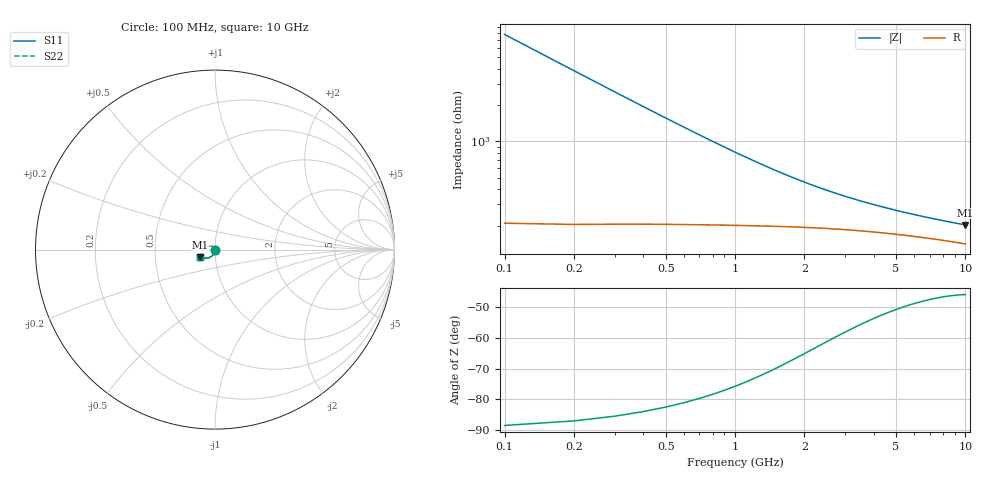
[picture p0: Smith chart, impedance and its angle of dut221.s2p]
! Touchstone file exported from HFSS 2024.1.0
!  File:  C:/UserFiles/LocalFiles/RDL_TSV_Batchsim/temp_TSV1_221_1778758387.aedt
!  Generated:  07:37:37 PM May 14, 2026
!  Design:  TSV1
!  Project:  temp_TSV1_221_1778758387
!  Setup:  Setup1
!  Solution:  Sweep
! Variables:
!  dtsv = 17.63um
!  hbump = 3um
!  htsv = 96.55um
!  lrdl = 252.1521522um
!  p = 40
!  p1 = 51.02um
!  t = 500um
!  trdl = 3um
!  wrdl = 24.89489489um
# GHz S MA R 50.000000
! Terminal data exported
! Port[1] = TSV22_T1
! Port[2] = TSV22_T2
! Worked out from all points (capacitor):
!   100 points, 100 MHz to 10 GHz, reference 50 ohm
!   read as one part in shunt: C = 206 fF near 100 MHz
!   lowest |Z| = 202 ohm at 10 GHz (marker M1)
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0.1  0.00285 -90.2  0.9998 -0.2  0.9998 -0.2  0.00285 -90.2
! Gamma 0 0 0 0
! Port Impedance 50 0 50 0
0.2  0.005715 -92.7  0.9995 -0.4  0.9995 -0.4  0.005715 -92.7
0.3  0.008561 -94.8  0.9991 -0.6  0.9991 -0.6  0.008561 -94.8
0.4  0.01137 -96.8  0.9984 -0.8  0.9984 -0.8  0.01137 -96.8
0.5  0.01414 -98.6  0.9976 -1.0  0.9976 -1.0  0.01414 -98.6
0.6  0.01686 -100.5  0.9967 -1.2  0.9967 -1.2  0.01686 -100.5
0.7  0.01952 -102.3  0.9956 -1.4  0.9956 -1.4  0.01952 -102.3
0.8  0.02212 -104.0  0.9945 -1.6  0.9945 -1.6  0.02212 -104.0
0.9  0.02464 -105.7  0.9932 -1.7  0.9932 -1.7  0.02464 -105.7
1.1  0.02946 -108.9  0.9904 -2.0  0.9904 -2.0  0.02946 -108.9
1.4  0.03608 -113.3  0.9859 -2.5  0.9859 -2.5  0.03608 -113.3
1.6  0.04008 -116.0  0.9827 -2.7  0.9827 -2.7  0.04008 -116.0
1.8  0.04377 -118.5  0.9795 -3.0  0.9795 -3.0  0.04377 -118.5
2.1  0.04876 -122.0  0.9748 -3.2  0.9748 -3.2  0.04876 -122.0
2.5  0.0545 -125.9  0.9688 -3.6  0.9688 -3.6  0.0545 -125.9
2.9  0.05938 -129.3  0.9633 -3.9  0.9633 -3.9  0.05938 -129.3
3.4  0.06453 -132.9  0.9572 -4.2  0.9572 -4.2  0.06453 -132.9
4.2  0.07114 -137.4  0.949 -4.6  0.949 -4.6  0.07114 -137.4
5.1  0.07693 -141.3  0.9415 -4.9  0.9415 -4.9  0.07693 -141.3
6.7  0.08449 -146.4  0.9314 -5.5  0.9314 -5.5  0.08449 -146.4
8.4  0.09011 -150.2  0.9238 -6.1  0.9238 -6.1  0.09011 -150.2
10  0.09399 -152.9  0.9185 -6.7  0.9185 -6.7  0.09399 -152.9
